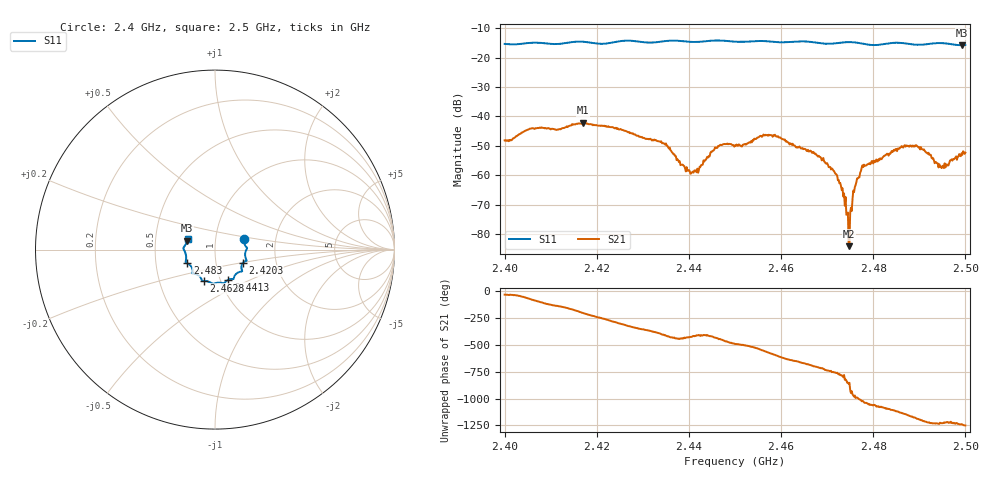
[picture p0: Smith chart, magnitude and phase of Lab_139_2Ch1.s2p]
# Hz S RI R 50
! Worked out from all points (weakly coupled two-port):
!   601 points, 2.4 GHz to 2.5 GHz, reference 50 ohm
!   highest |S21| = -42.11 dB at 2.417 GHz (marker M1); lowest = -84.0 dB at 2.4747 GHz (marker M2)
!   lowest |S11| = -15.8 dB at 2.4993 GHz (marker M3), VSWR 1.39, Z = 36.5 + j3.73 ohm
!   |S11| at or under -10 dB: start of sweep to end of sweep
!   S12 and S22 are empty: the file has one direction only
!   S11 on the Smith chart (normalised r, x): 2.4 GHz: 1.37, +0.16; 2.4203 GHz: 1.35, -0.21; 2.4413 GHz: 1.09, -0.38; 2.4628 GHz: 0.83, -0.30; 2.483 GHz: 0.72, -0.11; 2.5 GHz: 0.73, +0.09
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2.4e9  0.1605 0.057  0.00339 -0.00198  0 0  0 0
2.416667e9  0.1761 -0.0613  -0.00718 0.00219  0 0  0 0
2.417e9  0.1752 -0.0619  -0.00732 0.00282  0 0  0 0
2.420333e9  0.1553 -0.0737  -0.00307 0.00625  0 0  0 0
2.433333e9  0.108 -0.1483  0.00339 -0.00173  0 0  0 0
2.441333e9  0.0743 -0.1681  0.000692 -0.001  0 0  0 0
2.446167e9  0.0495 -0.1886  0.00062 -0.00287  0 0  0 0
2.45e9  0.0296 -0.1837  -0.0021 -0.00243  0 0  0 0
2.457167e9  -0.0177 -0.1878  -0.00411 0.00227  0 0  0 0
2.462833e9  -0.0629 -0.1749  0.000973 0.00308  0 0  0 0
2.466667e9  -0.0742 -0.1675  0.00216 0.00111  0 0  0 0
2.471667e9  -0.108 -0.1363  0.000902 -0.000643  0 0  0 0
2.473167e9  -0.1193 -0.1345  0.000227 -0.000513  0 0  0 0
2.474667e9  -0.1246 -0.134  -4.96e-05 -3.84e-05  0 0  0 0
2.476167e9  -0.1251 -0.1298  5.26e-05 0.000682  0 0  0 0
2.477667e9  -0.1245 -0.1193  0.00079 0.00126  0 0  0 0
2.483e9  -0.1548 -0.0767  0.00224 -0.000652  0 0  0 0
2.483333e9  -0.157 -0.0757  0.00206 -0.000665  0 0  0 0
2.489333e9  -0.1609 -0.037  -0.000809 -0.00315  0 0  0 0
2.494833e9  -0.1757 0.01  -0.00115 -0.000669  0 0  0 0
2.499333e9  -0.1543 0.0497  -0.00213 -0.000662  0 0  0 0
2.5e9  -0.1526 0.0587  -0.0024 -0.000379  0 0  0 0
